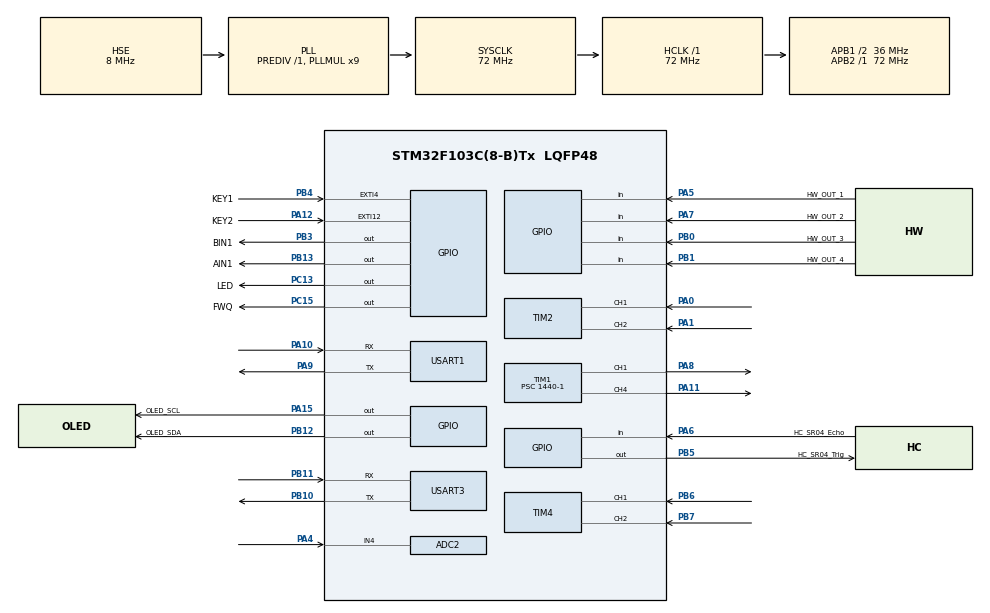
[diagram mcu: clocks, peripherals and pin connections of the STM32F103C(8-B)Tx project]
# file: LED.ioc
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ADC2.Channel-0\#ChannelRegularConversion=ADC_CHANNEL_4
ADC2.NbrOfConversionFlag=1
ADC2.Rank-0\#ChannelRegularConversion=1
ADC2.SamplingTime-0\#ChannelRegularConversion=ADC_SAMPLETIME_13CYCLES_5
Dma.Request0=USART3_RX
Dma.USART3_RX.0.Direction=DMA_PERIPH_TO_MEMORY
Dma.USART3_RX.0.Instance=DMA1_Channel3
Dma.USART3_RX.0.MemDataAlignment=DMA_MDATAALIGN_BYTE
Dma.USART3_RX.0.MemInc=DMA_MINC_ENABLE
Dma.USART3_RX.0.Mode=DMA_NORMAL
Dma.USART3_RX.0.PeriphDataAlignment=DMA_PDATAALIGN_BYTE
Dma.USART3_RX.0.PeriphInc=DMA_PINC_DISABLE
Dma.USART3_RX.0.Priority=DMA_PRIORITY_LOW
Mcu.Family=STM32F1
Mcu.Name=STM32F103C(8-B)Tx
Mcu.Package=LQFP48
NVIC.DMA1_Channel3_IRQn=true\:0\:0\:false\:false\:true\:false\:true\:true
NVIC.EXTI15_10_IRQn=true\:0\:0\:false\:false\:true\:true\:true\:true
NVIC.EXTI4_IRQn=true\:0\:0\:false\:false\:true\:true\:true\:true
NVIC.PriorityGroup=NVIC_PRIORITYGROUP_4
NVIC.TIM1_UP_IRQn=true\:0\:0\:false\:false\:true\:true\:true\:true
NVIC.TIM2_IRQn=true\:0\:0\:false\:false\:true\:true\:true\:true
NVIC.TIM4_IRQn=true\:0\:0\:false\:false\:true\:true\:true\:true
NVIC.USART1_IRQn=true\:0\:0\:false\:false\:true\:true\:true\:true
NVIC.USART3_IRQn=true\:0\:0\:false\:false\:true\:true\:true\:true
PA0-WKUP.GPIO_PuPd=GPIO_PULLUP
PA0-WKUP.Signal=S_TIM2_CH1_ETR
PA1.GPIO_PuPd=GPIO_PULLUP
PA1.Signal=S_TIM2_CH2
PA10.Mode=Asynchronous
PA10.Signal=USART1_RX
PA11.Signal=S_TIM1_CH4
PA12.GPIO_Label=KEY2
PA12.GPIO_ModeDefaultEXTI=GPIO_MODE_IT_FALLING
PA12.GPIO_PuPd=GPIO_PULLUP
PA12.Signal=GPXTI12
PA13.Mode=Serial_Wire
PA13.Signal=SYS_JTMS-SWDIO
PA14.Mode=Serial_Wire
PA14.Signal=SYS_JTCK-SWCLK
PA15.GPIO_Label=OLED_SCL
PA15.GPIO_PuPd=GPIO_PULLUP
PA15.PinState=GPIO_PIN_SET
PA15.Signal=GPIO_Output
PA4.Signal=ADCx_IN4
PA5.GPIO_Label=HW_OUT_1
PA5.Signal=GPIO_Input
PA6.GPIO_Label=HC_SR04_Echo
PA6.Signal=GPIO_Input
PA7.GPIO_Label=HW_OUT_2
PA7.Signal=GPIO_Input
PA8.Signal=S_TIM1_CH1
PA9.Mode=Asynchronous
PA9.Signal=USART1_TX
PB0.GPIO_Label=HW_OUT_3
PB0.Signal=GPIO_Input
PB1.GPIO_Label=HW_OUT_4
PB1.Signal=GPIO_Input
PB10.Mode=Asynchronous
PB10.Signal=USART3_TX
PB11.Mode=Asynchronous
PB11.Signal=USART3_RX
PB12.GPIO_Label=OLED_SDA
PB12.GPIO_PuPd=GPIO_PULLUP
PB12.PinState=GPIO_PIN_SET
PB12.Signal=GPIO_Output
PB13.GPIO_Label=AIN1
PB13.Signal=GPIO_Output
PB3.GPIO_Label=BIN1
PB3.Signal=GPIO_Output
PB4.GPIO_Label=KEY1
PB4.GPIO_ModeDefaultEXTI=GPIO_MODE_IT_RISING
PB4.GPIO_PuPd=GPIO_PULLDOWN
PB4.Signal=GPXTI4
PB5.GPIO_Label=HC_SR04_Trig
PB5.Signal=GPIO_Output
PB6.GPIO_PuPd=GPIO_PULLUP
PB6.Signal=S_TIM4_CH1
PB7.GPIO_PuPd=GPIO_PULLUP
PB7.Signal=S_TIM4_CH2
PC13-TAMPER-RTC.GPIO_Label=LED
PC13-TAMPER-RTC.Signal=GPIO_Output
PC15-OSC32_OUT.GPIO_Label=FWQ
PC15-OSC32_OUT.Signal=GPIO_Output
PD0-OSC_IN.Mode=HSE-External-Oscillator
PD0-OSC_IN.Signal=RCC_OSC_IN
PD1-OSC_OUT.Mode=HSE-External-Oscillator
PD1-OSC_OUT.Signal=RCC_OSC_OUT
ProjectManager.HeapSize=0x800
ProjectManager.StackSize=0x800
ProjectManager.TargetToolchain=MDK-ARM V5.32
RCC.ADCPresc=RCC_ADCPCLK2_DIV6
RCC.AHBFreq_Value=72000000
RCC.APB1CLKDivider=RCC_HCLK_DIV2
RCC.APB1Freq_Value=36000000
RCC.APB1TimFreq_Value=72000000
RCC.APB2Freq_Value=72000000
RCC.APB2TimFreq_Value=72000000
RCC.HCLKFreq_Value=72000000
RCC.PLLMUL=RCC_PLL_MUL9
RCC.PLLSourceVirtual=RCC_PLLSOURCE_HSE
RCC.SYSCLKFreq_VALUE=72000000
RCC.SYSCLKSource=RCC_SYSCLKSOURCE_PLLCLK
RCC.USBFreq_Value=72000000
SH.ADCx_IN4.0=ADC2_IN4,IN4
SH.S_TIM1_CH1.0=TIM1_CH1,PWM Generation1 CH1
SH.S_TIM1_CH4.0=TIM1_CH4,PWM Generation4 CH4
SH.S_TIM2_CH1_ETR.0=TIM2_CH1,Encoder_Interface
SH.S_TIM2_CH2.0=TIM2_CH2,Encoder_Interface
SH.S_TIM4_CH1.0=TIM4_CH1,Encoder_Interface
SH.S_TIM4_CH2.0=TIM4_CH2,Encoder_Interface
TIM1.AutoReloadPreload=TIM_AUTORELOAD_PRELOAD_ENABLE
TIM1.Channel-PWM\ Generation1\ CH1=TIM_CHANNEL_1
TIM1.Channel-PWM\ Generation4\ CH4=TIM_CHANNEL_4
TIM1.Period=100-1
TIM1.Prescaler=1440-1
TIM1.Pulse-PWM\ Generation1\ CH1=50
TIM1.Pulse-PWM\ Generation4\ CH4=50
TIM2.EncoderMode=TIM_ENCODERMODE_TI12
TIM2.IC1Filter=6
TIM2.IC2Filter=6
TIM4.EncoderMode=TIM_ENCODERMODE_TI12
TIM4.IC1Filter=6
TIM4.IC2Filter=6
USART1.VirtualMode=VM_ASYNC
USART3.VirtualMode=VM_ASYNC
VP_TIM1_VS_ClockSourceINT.Mode=Internal
board=custom

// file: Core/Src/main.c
/* USER CODE BEGIN Header */
/**
  ******************************************************************************
  * @file           : main.c
  * @brief          : Main program body
  ******************************************************************************
  * @attention
  *
  * Copyright (c) 2022 STMicroelectronics.
  * All rights reserved.
  *
  * This software is licensed under terms that can be found in the LICENSE file
  * in the root directory of this software component.
  * If no LICENSE file comes with this software, it is provided AS-IS.
  *
  ******************************************************************************
  */
/* USER CODE END Header */
#include "main.h"
#include "adc.h"
#include "dma.h"
#include "tim.h"
#include "usart.h"
#include "gpio.h"

/* USER CODE BEGIN Includes */
#include "oled.h"
#include "stdio.h"
#include "motor.h"
#include "niming.h"
#include "pid.h"
#include "cJSON.h"
#include <string.h>
#include "HC_SR04.h"

/* USER CODE END Includes */

/* USER CODE BEGIN PM */
extern float Motor1Speed ;
extern float Motor2Speed ;
int Motor1Pwm;
int Motor2Pwm;

extern tPid pidMotor1Speed;
extern tPid pidMotor2Speed;

extern uint8_t Usart1_ReadBuf[255]; //串口1 缓冲数组
extern uint8_t Usart1_ReadCount; //串口1 接收字节计数

uint8_t g_ucUsart3ReceiveData; //串口3 接受数据
uint8_t Usart3String[20];
float p,i,d,a,b;

extern float Mileage;
uint8_t OledString[35];

float g;

/* USER CODE END PM */

void SystemClock_Config(void);

int main(void)
{

  /* MCU Configuration--------------------------------------------------------*/

  /* Reset of all peripherals, Initializes the Flash interface and the Systick. */
  HAL_Init();

  /* Configure the system clock */
  SystemClock_Config();

  /* Initialize all configured peripherals */
  MX_GPIO_Init();
  MX_USART1_UART_Init();
  MX_TIM1_Init();
  MX_TIM2_Init();
  MX_TIM4_Init();
  MX_ADC2_Init();
  MX_DMA_Init();
  MX_USART3_UART_Init();
  /* USER CODE BEGIN 2 */
  OLED_Init();			//初始化OLED
  OLED_Clear()  	;
  HAL_TIM_PWM_Start(&htim1,TIM_CHANNEL_1);//开启定时器1 通道1 PWM输出
  HAL_TIM_PWM_Start(&htim1,TIM_CHANNEL_4);//开启定时器1 通道4 PWM输出
  HAL_TIM_Encoder_Start(&htim2,TIM_CHANNEL_ALL);//开启定时器2
  HAL_TIM_Encoder_Start(&htim4,TIM_CHANNEL_ALL);//开启定时器4
  HAL_TIM_Base_Start_IT(&htim2);				//开启定时器2 中断
  HAL_TIM_Base_Start_IT(&htim4);                //开启定时器4 中断

  HAL_TIM_Base_Start_IT(&htim1);                //开启定时器1 中断

  PID_init();//PID初始化

	__HAL_UART_ENABLE_IT(&huart1,UART_IT_RXNE); //开启串口1接受中断
	HAL_UART_Receive_IT(&huart3,&g_ucUsart3ReceiveData,1); //开启串口三接受数据

//	cJSON *cJsonData ,*cJsonVlaue;
  /* USER CODE END 2 */

  /* Infinite loop */
  /* USER CODE BEGIN WHILE */

	if(READ_KEY2 ==0)
	{
		motorPidSetSpeed(0.2,0.2);
		while(1)
		{
			 sprintf((char *)Usart3String,"Mileage%.2f\r\n",Mileage);
       HAL_UART_Transmit(&huart3,( uint8_t *)Usart3String,strlen(( const char*)Usart3String),50);
	     sprintf((char *)OledString,"Mileage:%.2f ",Mileage);//显示里程数
       OLED_ShowString(0,2,OledString,12);//这个是oled驱动里面的，是显示位置的一个函数
			 if(Mileage>85)
			 {
			 motorPidSetSpeed(0,0);
			 HAL_Delay(1000);
			 motorPidSetSpeed(0.5,-0.5);
		   HAL_Delay(1300);
			 motorPidSetSpeed(0,0);
			 HAL_Delay(1000);
			 motorPidSetSpeed(0.2,0.2);
			 HAL_Delay(1000);
			 break;
			 }
		}
	}

		while(1)
	{
	HAL_Delay(1000);
	HAL_Delay(1000);
  HAL_Delay(1000);
  HAL_Delay(1000);
  HAL_Delay(1000);
	HAL_GPIO_WritePin(FWQ_GPIO_Port,FWQ_Pin,GPIO_PIN_SET);
	HAL_Delay(500);
	HAL_GPIO_WritePin(FWQ_GPIO_Port,FWQ_Pin,GPIO_PIN_RESET);
	HAL_Delay(1000);
	HAL_GPIO_WritePin(FWQ_GPIO_Port,FWQ_Pin,GPIO_PIN_SET);
	HAL_Delay(500);
	HAL_GPIO_WritePin(FWQ_GPIO_Port,FWQ_Pin,GPIO_PIN_RESET);
	HAL_Delay(1000);
	HAL_GPIO_WritePin(FWQ_GPIO_Port,FWQ_Pin,GPIO_PIN_SET);
	HAL_Delay(500);
	HAL_GPIO_WritePin(FWQ_GPIO_Port,FWQ_Pin,GPIO_PIN_RESET);
	HAL_Delay(1000);
	motorPidSetSpeed(0.35,0.35);
	HAL_Delay(1000);
	break;

	}

  while (1)
  {
    /* USER CODE END WHILE */

    /* USER CODE BEGIN 3 */
//	OLED_ShowCHinese(0,0,0);//中
//	OLED_ShowCHinese(18,0,1);//景
//	OLED_ShowCHinese(36,0,2);//园
//	OLED_ShowCHinese(54,0,3);//电
//	OLED_ShowCHinese(72,0,4);//子
//	OLED_ShowCHinese(90,0,5);//科
//	OLED_ShowCHinese(108,0,6);//技
//	__HAL_TIM_SET_COMPARE(&htim1, TIM_CHANNEL_4, 0);
//    __HAL_TIM_SET_COMPARE(&htim1, TIM_CHANNEL_1, 90);
//    __HAL_TIM_SET_COMPARE(&htim1, TIM_CHANNEL_4, 90);
//	HAL_GPIO_WritePin(AIN1_GPIO_Port,AIN1_Pin,GPIO_PIN_RESET);
//	HAL_GPIO_WritePin(BIN1_GPIO_Port,BIN1_Pin,GPIO_PIN_RESET);

//	if(Motor1Speed <2.9) Motor1Pwm++;
//	if(Motor1Speed >3.1) Motor1Pwm--;
//	if(Motor2Speed <2.9) Motor2Pwm++;
//	if(Motor2Speed >3.1) Motor2Pwm--;

//	printf("Motor1Speed:%.2f Motor1Pwm:%d\r\n",Motor1Speed,Motor1Pwm);
//	printf("Motor2Speed:%.2f Motor2Pwm:%d\r\n",Motor2Speed,Motor2Pwm);
	HAL_Delay(10);

//	motorPidSetSpeed(1,2);//向右
//	motorPidSetSpeed(2,1);//向左
//	motorPidSetSpeed(1,1);//向前
//	motorPidSetSpeed(-1,-1);//向后
//   motorPidSpeedUp();

	 //oled显示

//	 sprintf((char *)OledString,"V1:%.2f V2:%.2f", Motor1Speed,Motor2Speed);//显示两个电机的速度
//   OLED_ShowString(0,0,OledString,12);//这个是oled驱动里面的，是显示位置的一个函数
//
   sprintf((char *)Usart3String,"Mileage%.2f\r\n",Mileage);
   HAL_UART_Transmit(&huart3,( uint8_t *)Usart3String,strlen(( const char*)Usart3String),50);
   sprintf((char *)OledString,"Mileage:%.2f ",Mileage);//显示里程数
   OLED_ShowString(0,2,OledString,12);//这个是oled驱动里面的，是显示位置的一个函数
//
//	 sprintf((char *)OledString,"U:%.2fV ",adcGetBatteryVoltage());//显示里程数
//   OLED_ShowString(0,4,OledString,12);//这个是oled驱动里面的，是显示位置的一个函数
//

	 if(READ_HW_OUT_1 == 1&&READ_HW_OUT_2 == 1&&READ_HW_OUT_3 == 1&&READ_HW_OUT_4== 1 )
	 {
		 motorPidSetSpeed(0.2,0.2);
		 HAL_Delay(2000);
//			motorPidSetSpeed(-0.45,0.45);
//		    HAL_Delay(100);
			motorPidSetSpeed(0,0);
		    break;
	 }
	 else if(READ_HW_OUT_1 == 1&&READ_HW_OUT_2 == 1&&READ_HW_OUT_3 == 1&&READ_HW_OUT_4== 0 )
	 {

		 motorPidSetSpeed(0.2,0.2);
		 HAL_Delay(2000);
//			motorPidSetSpeed(-0.45,0.45);
//		 HAL_Delay(100);
			motorPidSetSpeed(0,0);
		    break;
	 }
	 else if(READ_HW_OUT_1 == 0&&READ_HW_OUT_2 == 1&&READ_HW_OUT_3 == 1&&READ_HW_OUT_4== 1 )
	 {

		 motorPidSetSpeed(0.2,0.2);
		 HAL_Delay(2000);
//			motorPidSetSpeed(-0.45,0.45);
//	   HAL_Delay(100);
			motorPidSetSpeed(0,0);
		    break;
	 }
	else if(READ_HW_OUT_1 == 0&&READ_HW_OUT_2 == 1&&READ_HW_OUT_3 == 1&&READ_HW_OUT_4== 0 )
	 {

		 motorPidSetSpeed(0.2,0.2);
		 HAL_Delay(2000);
//			motorPidSetSpeed(-0.45,0.45);
//		 HAL_Delay(100);
			motorPidSetSpeed(0,0);
		    break;
	 }
	 else if(READ_HW_OUT_1 == 0&&READ_HW_OUT_2 == 0&&READ_HW_OUT_3 == 1&&READ_HW_OUT_4== 1 )
	 {
		 motorPidSetSpeed(0.2,0.2);
		 HAL_Delay(2000);
//			motorPidSetSpeed(-0.45,0.45);
//	   HAL_Delay(100);
			motorPidSetSpeed(0,0);
		    break;
	 }
	 else if(READ_HW_OUT_1 == 1&&READ_HW_OUT_2 == 1&&READ_HW_OUT_3 == 0&&READ_HW_OUT_4== 0 )
	 {
			motorPidSetSpeed(0,0);
		    break;
	 }

	 if(READ_HW_OUT_1 == 0&&READ_HW_OUT_2 == 0&&READ_HW_OUT_3 == 0&&READ_HW_OUT_4== 0 )
	 {

			motorPidSetSpeed(0.12,0.12);//前运动
	 }

    if(READ_HW_OUT_1 == 0&&READ_HW_OUT_2 == 0&&READ_HW_OUT_3 == 1&&READ_HW_OUT_4== 0 )
		{

			motorPidSetSpeed(0.15,0.35);//右边运动
		}

    if(READ_HW_OUT_1 == 0&&READ_HW_OUT_2 == 0&&READ_HW_OUT_3 == 0&&READ_HW_OUT_4== 1 )
		{

			motorPidSetSpeed(0.15,0.7);//快速右转
		}

    if(READ_HW_OUT_1 == 0&&READ_HW_OUT_2 == 1&&READ_HW_OUT_3 == 0&&READ_HW_OUT_4== 0 )
		{

			motorPidSetSpeed(0.35,0.15);//左边运动
		}

    if(READ_HW_OUT_1 == 1&&READ_HW_OUT_2 == 0&&READ_HW_OUT_3 == 0&&READ_HW_OUT_4== 0 )
		{

			motorPidSetSpeed(0.7,0.15);//快速左转
		}
  }

			while(1)//在暂停点1蜂鸣加超声波测距
	{
  sprintf((char *)Usart3String,"Mileage%.2f\r\n",Mileage);
  HAL_UART_Transmit(&huart3,( uint8_t *)Usart3String,strlen(( const char*)Usart3String),50);
	HAL_GPIO_WritePin(FWQ_GPIO_Port,FWQ_Pin,GPIO_PIN_SET);
	HAL_Delay(500);
	HAL_GPIO_WritePin(FWQ_GPIO_Port,FWQ_Pin,GPIO_PIN_RESET);
	HAL_Delay(1000);
	HAL_GPIO_WritePin(FWQ_GPIO_Port,FWQ_Pin,GPIO_PIN_SET);
	HAL_Delay(500);
	HAL_GPIO_WritePin(FWQ_GPIO_Port,FWQ_Pin,GPIO_PIN_RESET);
	HAL_Delay(1000);
	HAL_GPIO_WritePin(FWQ_GPIO_Port,FWQ_Pin,GPIO_PIN_SET);
	HAL_Delay(500);
	HAL_GPIO_WritePin(FWQ_GPIO_Port,FWQ_Pin,GPIO_PIN_RESET);
	HAL_Delay(1000);
	float g = HC_SR04_Read();

	sprintf((char *)OledString,"g:%.2fcm",g+15);//显示超声波数据
  OLED_ShowString(0,0,OledString,12);//这个是oled驱动里面的，是显示位置的一个函数
	sprintf((char *)Usart3String,"g:%.2f\r\n",g+15);
  HAL_UART_Transmit(&huart3,( uint8_t *)Usart3String,strlen(( const char*)Usart3String),50);
	HAL_Delay(5);
	HAL_Delay(1000);
  HAL_Delay(1000);
  HAL_Delay(1000);
	HAL_Delay(1000);
	HAL_GPIO_WritePin(FWQ_GPIO_Port,FWQ_Pin,GPIO_PIN_SET);
	HAL_Delay(500);
	HAL_GPIO_WritePin(FWQ_GPIO_Port,FWQ_Pin,GPIO_PIN_RESET);
	HAL_Delay(1000);
	HAL_GPIO_WritePin(FWQ_GPIO_Port,FWQ_Pin,GPIO_PIN_SET);
	HAL_Delay(500);
	HAL_GPIO_WritePin(FWQ_GPIO_Port,FWQ_Pin,GPIO_PIN_RESET);
	HAL_Delay(1000);
	HAL_GPIO_WritePin(FWQ_GPIO_Port,FWQ_Pin,GPIO_PIN_SET);
	HAL_Delay(500);
	HAL_GPIO_WritePin(FWQ_GPIO_Port,FWQ_Pin,GPIO_PIN_RESET);
	break;
   }

   while(1)//避障前的循线
   {
	   sprintf((char *)Usart3String,"Mileage%.2f\r\n",Mileage);
     HAL_UART_Transmit(&huart3,( uint8_t *)Usart3String,strlen(( const char*)Usart3String),50);
		 sprintf((char *)OledString,"Mileage:%.2f ",Mileage);//显示里程数
     OLED_ShowString(0,2,OledString,12);//这个是oled驱动里面的，是显示位置的一个函数
		 sprintf((char *)OledString,"Mileage:%.2f ",Mileage);//显示里程数
   OLED_ShowString(0,2,OledString,12);//这个是oled驱动里面的，是显示位置的一个函数
			 if(READ_HW_OUT_1 == 0&&READ_HW_OUT_2 == 0&&READ_HW_OUT_3 == 0&&READ_HW_OUT_4== 0 )
	 {

			motorPidSetSpeed(0.4,0.4);//前运动
	 }

    if(READ_HW_OUT_1 == 0&&READ_HW_OUT_2 == 0&&READ_HW_OUT_3 == 1&&READ_HW_OUT_4== 0 )
		{

			motorPidSetSpeed(0.2,0.3);//右边运动，0.2 0.4
		}

    if(READ_HW_OUT_1 == 0&&READ_HW_OUT_2 == 0&&READ_HW_OUT_3 == 0&&READ_HW_OUT_4== 1 )
		{

			motorPidSetSpeed(0.2,0.6);//快速右转
		}

    if(READ_HW_OUT_1 == 0&&READ_HW_OUT_2 == 1&&READ_HW_OUT_3 == 0&&READ_HW_OUT_4== 0 )
		{

			motorPidSetSpeed(0.3,0.2);//左边运动
		}

    if(READ_HW_OUT_1 == 1&&READ_HW_OUT_2 == 0&&READ_HW_OUT_3 == 0&&READ_HW_OUT_4== 0 )
		{

			motorPidSetSpeed(0.6,0.2);//快速左转
		}

	   float g = HC_SR04_Read();
		 if(g<=22&&g>1)  break;
	  }

	//避障代码
		motorPidSetSpeed(1,-1);
		HAL_Delay(350);
	  motorPidSetSpeed(0,0);
	  HAL_Delay(500);
		motorPidSetSpeed(1,1);
		HAL_Delay(1800);
		motorPidSetSpeed(0,0);
	  HAL_Delay(500);
	  motorPidSetSpeed(-1,1);
		HAL_Delay(600);
	  motorPidSetSpeed(0,0);
	  HAL_Delay(500);

		while(1)//避障到达暂停点2
   {
		sprintf((char *)Usart3String,"Mileage%.2f\r\n",Mileage);
     HAL_UART_Transmit(&huart3,( uint8_t *)Usart3String,strlen(( const char*)Usart3String),50);
	  sprintf((char *)OledString,"Mileage:%.2f ",Mileage);//显示里程数
    OLED_ShowString(0,2,OledString,12);//这个是oled驱动里面的，是显示位置的一个函数

		if(READ_HW_OUT_1 == 1&&READ_HW_OUT_2 == 1&&READ_HW_OUT_3 == 1&&READ_HW_OUT_4== 1 )
	 {
      motorPidSetSpeed(0.3,0.3);
		  HAL_Delay(500);
			motorPidSetSpeed(0,0);
		  HAL_Delay(500);
		    break;
	 }
	 else if(READ_HW_OUT_1 == 1&&READ_HW_OUT_2 == 1&&READ_HW_OUT_3 == 1&&READ_HW_OUT_4== 0 )
	 {
      motorPidSetSpeed(0.3,0.3);
		  HAL_Delay(500);
			motorPidSetSpeed(0,0);
		  HAL_Delay(500);
		    break;
	 }
	 else if(READ_HW_OUT_1 == 0&&READ_HW_OUT_2 == 1&&READ_HW_OUT_3 == 1&&READ_HW_OUT_4== 1 )
	 {
      motorPidSetSpeed(0.3,0.3);
		  HAL_Delay(500);
			motorPidSetSpeed(0,0);
		  HAL_Delay(500);
		    break;
	 }
	else if(READ_HW_OUT_1 == 0&&READ_HW_OUT_2 == 1&&READ_HW_OUT_3 == 1&&READ_HW_OUT_4== 0 )
	 {
      motorPidSetSpeed(0.3,0.3);
		  HAL_Delay(500);
			motorPidSetSpeed(0,0);
		  HAL_Delay(500);
		    break;
	 }
	 else if(READ_HW_OUT_1 == 0&&READ_HW_OUT_2 == 0&&READ_HW_OUT_3 == 1&&READ_HW_OUT_4== 1 )
	 {
      motorPidSetSpeed(0.3,0.3);
		  HAL_Delay(500);
			motorPidSetSpeed(0,0);
		  HAL_Delay(500);
		    break;
	 }
	 else if(READ_HW_OUT_1 == 1&&READ_HW_OUT_2 == 1&&READ_HW_OUT_3 == 0&&READ_HW_OUT_4== 0 )
	 {
		  motorPidSetSpeed(0.3,0.3);
		  HAL_Delay(500);
			motorPidSetSpeed(0,0);
		  HAL_Delay(500);
		    break;
	 }

		if(READ_HW_OUT_1 == 0&&READ_HW_OUT_2 == 0&&READ_HW_OUT_3 == 0&&READ_HW_OUT_4== 0 )
	 {
			printf("应该前进\r\n");
			motorPidSetSpeed(0.4,0.4);//前运动
	 }

    if(READ_HW_OUT_1 == 0&&READ_HW_OUT_2 == 0&&READ_HW_OUT_3 == 1&&READ_HW_OUT_4== 0 )
		{
			printf("应该右转\r\n");
			motorPidSetSpeed(0.1,0.3);//右边运动
		}

    if(READ_HW_OUT_1 == 0&&READ_HW_OUT_2 == 0&&READ_HW_OUT_3 == 0&&READ_HW_OUT_4== 1 )
		{
			printf("快速右转\r\n");
			motorPidSetSpeed(0.1,0.7);//快速右转
		}

    if(READ_HW_OUT_1 == 0&&READ_HW_OUT_2 == 1&&READ_HW_OUT_3 == 0&&READ_HW_OUT_4== 0 )
		{
			printf("应该左转\r\n");
			motorPidSetSpeed(0.5,0.1);//左边运动
		}

    if(READ_HW_OUT_1 == 1&&READ_HW_OUT_2 == 0&&READ_HW_OUT_3 == 0&&READ_HW_OUT_4== 0 )
		{
			printf("快速左转\r\n");
			motorPidSetSpeed(0.7,0.1);//快速左转
		}

	 }
	 //	 motorPidSetSpeed(-1,1);
	 //  HAL_Delay(600);//90度角k

	 while(1)//在暂停点2蜂鸣
	 {
//			sprintf((char *)OledString,"HC_SR04:%.2fcm",g);//显示超声波数据
//			OLED_ShowString(0,1,OledString,12);//这个是oled驱动里面的，是显示位置的一个函数
			HAL_GPIO_WritePin(FWQ_GPIO_Port,FWQ_Pin,GPIO_PIN_SET);
			HAL_Delay(500);
			HAL_GPIO_WritePin(FWQ_GPIO_Port,FWQ_Pin,GPIO_PIN_RESET);
			HAL_Delay(1000);
			HAL_GPIO_WritePin(FWQ_GPIO_Port,FWQ_Pin,GPIO_PIN_SET);
			HAL_Delay(500);
			HAL_GPIO_WritePin(FWQ_GPIO_Port,FWQ_Pin,GPIO_PIN_RESET);
			HAL_Delay(1000);
			HAL_GPIO_WritePin(FWQ_GPIO_Port,FWQ_Pin,GPIO_PIN_SET);
			HAL_Delay(500);
			HAL_GPIO_WritePin(FWQ_GPIO_Port,FWQ_Pin,GPIO_PIN_RESET);
			HAL_Delay(5000);
		  HAL_GPIO_WritePin(FWQ_GPIO_Port,FWQ_Pin,GPIO_PIN_SET);
			HAL_Delay(500);
			HAL_GPIO_WritePin(FWQ_GPIO_Port,FWQ_Pin,GPIO_PIN_RESET);
			HAL_Delay(1000);
			HAL_GPIO_WritePin(FWQ_GPIO_Port,FWQ_Pin,GPIO_PIN_SET);
			HAL_Delay(500);
			HAL_GPIO_WritePin(FWQ_GPIO_Port,FWQ_Pin,GPIO_PIN_RESET);
			HAL_Delay(1000);
			HAL_GPIO_WritePin(FWQ_GPIO_Port,FWQ_Pin,GPIO_PIN_SET);
			HAL_Delay(500);
			HAL_GPIO_WritePin(FWQ_GPIO_Port,FWQ_Pin,GPIO_PIN_RESET);
			break;
	 }

	 motorPidSetSpeed(0.5,0.5);
	 HAL_Delay(4300);
	 motorPidSetSpeed(0,0);
	 HAL_Delay(1500);
	 motorPidSetSpeed(-0.5,0.5);
	 HAL_Delay(1300);

	 while(1)//到暂停点三的循线
	 {
	  sprintf((char *)Usart3String,"Mileage%.2f\r\n",Mileage);
     HAL_UART_Transmit(&huart3,( uint8_t *)Usart3String,strlen(( const char*)Usart3String),50);
	  sprintf((char *)OledString,"Mileage:%.2f ",Mileage);//显示里程数
    OLED_ShowString(0,2,OledString,12);//这个是oled驱动里面的，是显示位置的一个函数
	 	if(READ_HW_OUT_1 == 1&&READ_HW_OUT_2 == 1&&READ_HW_OUT_3 == 1&&READ_HW_OUT_4== 1 )
	 {
      motorPidSetSpeed(0.8,0.8);
		  HAL_Delay(500);
			motorPidSetSpeed(0,0);
		  HAL_Delay(500);
		    break;
	 }
	 else if(READ_HW_OUT_1 == 1&&READ_HW_OUT_2 == 1&&READ_HW_OUT_3 == 1&&READ_HW_OUT_4== 0 )
	 {
      motorPidSetSpeed(0.8,0.8);
		  HAL_Delay(500);
			motorPidSetSpeed(0,0);
		  HAL_Delay(500);
		    break;
	 }
	 else if(READ_HW_OUT_1 == 0&&READ_HW_OUT_2 == 1&&READ_HW_OUT_3 == 1&&READ_HW_OUT_4== 1 )
	 {
      motorPidSetSpeed(0.8,0.8);
		  HAL_Delay(500);
			motorPidSetSpeed(0,0);
		  HAL_Delay(500);
		    break;
	 }
	else if(READ_HW_OUT_1 == 0&&READ_HW_OUT_2 == 1&&READ_HW_OUT_3 == 1&&READ_HW_OUT_4== 0 )
	 {
      motorPidSetSpeed(0.8,0.8);
		  HAL_Delay(500);
			motorPidSetSpeed(0,0);
		  HAL_Delay(500);
		    break;
	 }
	 else if(READ_HW_OUT_1 == 0&&READ_HW_OUT_2 == 0&&READ_HW_OUT_3 == 1&&READ_HW_OUT_4== 1 )
	 {
      motorPidSetSpeed(0.8,0.8);
		  HAL_Delay(500);
			motorPidSetSpeed(0,0);
		  HAL_Delay(500);
		    break;
	 }
	 else if(READ_HW_OUT_1 == 1&&READ_HW_OUT_2 == 1&&READ_HW_OUT_3 == 0&&READ_HW_OUT_4== 0 )
	 {
		  motorPidSetSpeed(0.8,0.8);
		  HAL_Delay(500);
			motorPidSetSpeed(0,0);
		  HAL_Delay(500);
		    break;
	 }

		if(READ_HW_OUT_1 == 0&&READ_HW_OUT_2 == 0&&READ_HW_OUT_3 == 0&&READ_HW_OUT_4== 0 )
	 {
			printf("应该前进\r\n");
			motorPidSetSpeed(0.8,0.8);//前运动
	 }

    if(READ_HW_OUT_1 == 0&&READ_HW_OUT_2 == 0&&READ_HW_OUT_3 == 1&&READ_HW_OUT_4== 0 )
		{
			printf("应该右转\r\n");
			motorPidSetSpeed(0.1,0.3);//右边运动
		}

    if(READ_HW_OUT_1 == 0&&READ_HW_OUT_2 == 0&&READ_HW_OUT_3 == 0&&READ_HW_OUT_4== 1 )
		{
			printf("快速右转\r\n");
			motorPidSetSpeed(0.1,0.6);//快速右转
		}

    if(READ_HW_OUT_1 == 0&&READ_HW_OUT_2 == 1&&READ_HW_OUT_3 == 0&&READ_HW_OUT_4== 0 )
		{
			printf("应该左转\r\n");
			motorPidSetSpeed(0.3,0.1);//左边运动
		}

    if(READ_HW_OUT_1 == 1&&READ_HW_OUT_2 == 0&&READ_HW_OUT_3 == 0&&READ_HW_OUT_4== 0 )
		{
			printf("快速左转\r\n");
			motorPidSetSpeed(0.6,0.1);//快速左转
		}

	 }

	    HAL_GPIO_WritePin(FWQ_GPIO_Port,FWQ_Pin,GPIO_PIN_SET);
			HAL_Delay(500);
			HAL_GPIO_WritePin(FWQ_GPIO_Port,FWQ_Pin,GPIO_PIN_RESET);
			HAL_Delay(1000);
			HAL_GPIO_WritePin(FWQ_GPIO_Port,FWQ_Pin,GPIO_PIN_SET);
			HAL_Delay(500);
			HAL_GPIO_WritePin(FWQ_GPIO_Port,FWQ_Pin,GPIO_PIN_RESET);
			HAL_Delay(1000);
			HAL_GPIO_WritePin(FWQ_GPIO_Port,FWQ_Pin,GPIO_PIN_SET);
			HAL_Delay(500);
			HAL_GPIO_WritePin(FWQ_GPIO_Port,FWQ_Pin,GPIO_PIN_RESET);
	    HAL_Delay(5000);
		  HAL_GPIO_WritePin(FWQ_GPIO_Port,FWQ_Pin,GPIO_PIN_SET);
			HAL_Delay(500);
			HAL_GPIO_WritePin(FWQ_GPIO_Port,FWQ_Pin,GPIO_PIN_RESET);
			HAL_Delay(1000);
			HAL_GPIO_WritePin(FWQ_GPIO_Port,FWQ_Pin,GPIO_PIN_SET);
			HAL_Delay(500);
			HAL_GPIO_WritePin(FWQ_GPIO_Port,FWQ_Pin,GPIO_PIN_RESET);
			HAL_Delay(1000);
			HAL_GPIO_WritePin(FWQ_GPIO_Port,FWQ_Pin,GPIO_PIN_SET);
			HAL_Delay(500);
			HAL_GPIO_WritePin(FWQ_GPIO_Port,FWQ_Pin,GPIO_PIN_RESET);

	     motorPidSetSpeed(-1,1);
	     HAL_Delay(300);//90度角k
	     motorPidSetSpeed(0,0);
	     HAL_Delay(600);
	     motorPidSetSpeed(1,1);
	     HAL_Delay(7200);
			 motorPidSetSpeed(0,0);
	     HAL_Delay(600);
			 motorPidSetSpeed(0,0);
	     motorPidSetSpeed(-1,1);
			 HAL_Delay(720);
			 motorPidSetSpeed(0,0);
			 HAL_Delay(600);

	 while(1)
	 {
	  sprintf((char *)Usart3String,"Mileage%.2f\r\n",Mileage);
     HAL_UART_Transmit(&huart3,( uint8_t *)Usart3String,strlen(( const char*)Usart3String),50);
	  sprintf((char *)OledString,"Mileage:%.2f ",Mileage);//显示里程数
    OLED_ShowString(0,2,OledString,12);//这个是oled驱动里面的，是显示位置的一个函数
	 	if(READ_HW_OUT_1 == 1&&READ_HW_OUT_2 == 1&&READ_HW_OUT_3 == 1&&READ_HW_OUT_4== 1 )
	 {
      motorPidSetSpeed(0.8,0.8);
		  HAL_Delay(500);
			motorPidSetSpeed(0,0);
		  HAL_Delay(500);
		    break;
	 }
	 else if(READ_HW_OUT_1 == 1&&READ_HW_OUT_2 == 1&&READ_HW_OUT_3 == 1&&READ_HW_OUT_4== 0 )
	 {
      motorPidSetSpeed(0.8,0.8);
		  HAL_Delay(500);
			motorPidSetSpeed(0,0);
		  HAL_Delay(500);
		    break;
	 }
	 else if(READ_HW_OUT_1 == 0&&READ_HW_OUT_2 == 1&&READ_HW_OUT_3 == 1&&READ_HW_OUT_4== 1 )
	 {
      motorPidSetSpeed(0.8,0.8);
		  HAL_Delay(500);
			motorPidSetSpeed(0,0);
		  HAL_Delay(500);
		    break;
	 }
	else if(READ_HW_OUT_1 == 0&&READ_HW_OUT_2 == 1&&READ_HW_OUT_3 == 1&&READ_HW_OUT_4== 0 )
	 {
      motorPidSetSpeed(0.8,0.8);
		  HAL_Delay(500);
			motorPidSetSpeed(0,0);
		  HAL_Delay(500);
		    break;
	 }
	 else if(READ_HW_OUT_1 == 0&&READ_HW_OUT_2 == 0&&READ_HW_OUT_3 == 1&&READ_HW_OUT_4== 1 )
	 {
      motorPidSetSpeed(0.8,0.8);
		  HAL_Delay(500);
			motorPidSetSpeed(0,0);
		  HAL_Delay(500);
		    break;
	 }
	 else if(READ_HW_OUT_1 == 1&&READ_HW_OUT_2 == 1&&READ_HW_OUT_3 == 0&&READ_HW_OUT_4== 0 )
	 {
		  motorPidSetSpeed(0.8,0.8);
		  HAL_Delay(500);
			motorPidSetSpeed(0,0);
		  HAL_Delay(500);
		    break;
	 }

		if(READ_HW_OUT_1 == 0&&READ_HW_OUT_2 == 0&&READ_HW_OUT_3 == 0&&READ_HW_OUT_4== 0 )
	 {
			printf("应该前进\r\n");
			motorPidSetSpeed(0.8,0.8);//前运动
	 }

    if(READ_HW_OUT_1 == 0&&READ_HW_OUT_2 == 0&&READ_HW_OUT_3 == 1&&READ_HW_OUT_4== 0 )
		{
			printf("应该右转\r\n");
			motorPidSetSpeed(0.1,0.3);//右边运动
		}

    if(READ_HW_OUT_1 == 0&&READ_HW_OUT_2 == 0&&READ_HW_OUT_3 == 0&&READ_HW_OUT_4== 1 )
		{
			printf("快速右转\r\n");
			motorPidSetSpeed(0.1,0.6);//快速右转
		}

    if(READ_HW_OUT_1 == 0&&READ_HW_OUT_2 == 1&&READ_HW_OUT_3 == 0&&READ_HW_OUT_4== 0 )
		{
			printf("应该左转\r\n");
			motorPidSetSpeed(0.3,0.1);//左边运动
		}

    if(READ_HW_OUT_1 == 1&&READ_HW_OUT_2 == 0&&READ_HW_OUT_3 == 0&&READ_HW_OUT_4== 0 )
		{
			printf("快速左转\r\n");
			motorPidSetSpeed(0.6,0.1);//快速左转
		}

	 }
	 		HAL_GPIO_WritePin(FWQ_GPIO_Port,FWQ_Pin,GPIO_PIN_SET);
			HAL_Delay(500);
			HAL_GPIO_WritePin(FWQ_GPIO_Port,FWQ_Pin,GPIO_PIN_RESET);
			HAL_Delay(1000);
			HAL_GPIO_WritePin(FWQ_GPIO_Port,FWQ_Pin,GPIO_PIN_SET);
			HAL_Delay(500);
			HAL_GPIO_WritePin(FWQ_GPIO_Port,FWQ_Pin,GPIO_PIN_RESET);
			HAL_Delay(1000);
			HAL_GPIO_WritePin(FWQ_GPIO_Port,FWQ_Pin,GPIO_PIN_SET);
			HAL_Delay(500);
			HAL_GPIO_WritePin(FWQ_GPIO_Port,FWQ_Pin,GPIO_PIN_RESET);

  /* USER CODE END 3 */
}

void SystemClock_Config(void)
{
  RCC_OscInitTypeDef RCC_OscInitStruct = {0};
  RCC_ClkInitTypeDef RCC_ClkInitStruct = {0};
  RCC_PeriphCLKInitTypeDef PeriphClkInit = {0};

  /** Initializes the RCC Oscillators according to the specified parameters
  * in the RCC_OscInitTypeDef structure.
  */
  RCC_OscInitStruct.OscillatorType = RCC_OSCILLATORTYPE_HSE;
  RCC_OscInitStruct.HSEState = RCC_HSE_ON;
  RCC_OscInitStruct.HSEPredivValue = RCC_HSE_PREDIV_DIV1;
  RCC_OscInitStruct.HSIState = RCC_HSI_ON;
  RCC_OscInitStruct.PLL.PLLState = RCC_PLL_ON;
  RCC_OscInitStruct.PLL.PLLSource = RCC_PLLSOURCE_HSE;
  RCC_OscInitStruct.PLL.PLLMUL = RCC_PLL_MUL9;
  if (HAL_RCC_OscConfig(&RCC_OscInitStruct) != HAL_OK)
  {
    Error_Handler();
  }

  /** Initializes the CPU, AHB and APB buses clocks
  */
  RCC_ClkInitStruct.ClockType = RCC_CLOCKTYPE_HCLK|RCC_CLOCKTYPE_SYSCLK
                              |RCC_CLOCKTYPE_PCLK1|RCC_CLOCKTYPE_PCLK2;
  RCC_ClkInitStruct.SYSCLKSource = RCC_SYSCLKSOURCE_PLLCLK;
  RCC_ClkInitStruct.AHBCLKDivider = RCC_SYSCLK_DIV1;
  RCC_ClkInitStruct.APB1CLKDivider = RCC_HCLK_DIV2;
  RCC_ClkInitStruct.APB2CLKDivider = RCC_HCLK_DIV1;

  if (HAL_RCC_ClockConfig(&RCC_ClkInitStruct, FLASH_LATENCY_2) != HAL_OK)
  {
    Error_Handler();
  }
  PeriphClkInit.PeriphClockSelection = RCC_PERIPHCLK_ADC;
  PeriphClkInit.AdcClockSelection = RCC_ADCPCLK2_DIV6;
  if (HAL_RCCEx_PeriphCLKConfig(&PeriphClkInit) != HAL_OK)
  {
    Error_Handler();
  }
}

void Error_Handler(void)
{
  __disable_irq();
  while (1)
  {
  }
}
